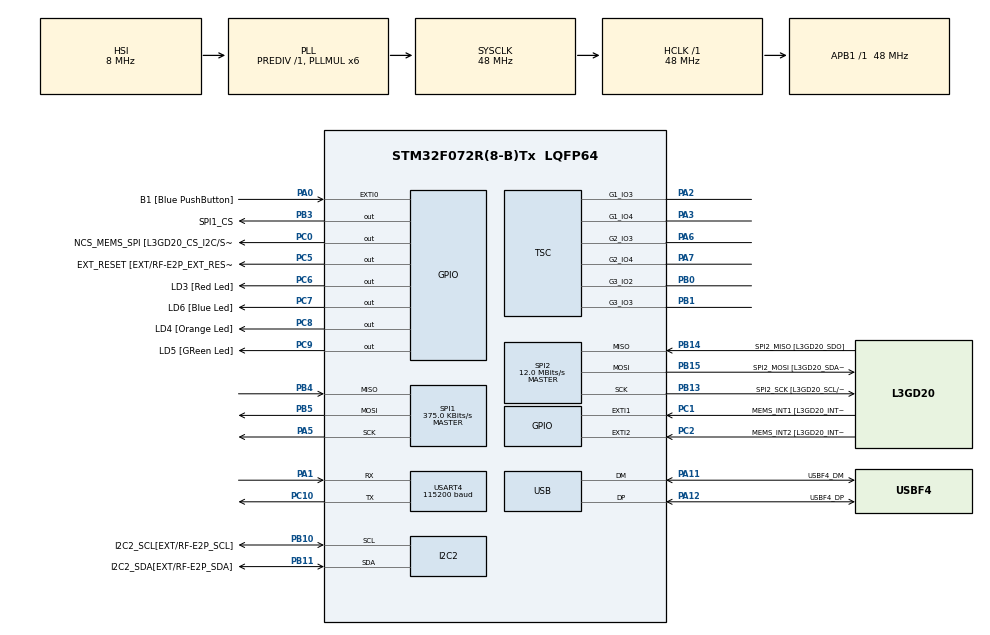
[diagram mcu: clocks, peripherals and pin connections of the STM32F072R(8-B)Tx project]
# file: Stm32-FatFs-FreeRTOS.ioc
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FATFS._USE_FIND=1
FREERTOS.Mutexes01=SDCardMutex,Dynamic,NULL
FREERTOS.Tasks01=BlinkTask,0,128,StartBlinkTask,Default,NULL,Dynamic,NULL,NULL;SDinfo,2,140,StartSDinfo,Default,NULL,Dynamic,NULL,NULL;SDManager,3,300,StartSDManager,Default,NULL,Dynamic,NULL,NULL
FREERTOS.configMINIMAL_STACK_SIZE=128
I2C2.Timing=0x20303E5D
Mcu.Family=STM32F0
Mcu.Name=STM32F072R(8-B)Tx
Mcu.Package=LQFP64
PA0.GPIO_Label=B1 [Blue PushButton]
PA0.GPIO_ModeDefaultEXTI=GPIO_MODE_EVT_RISING
PA0.Signal=GPXTI0
PA1.Mode=Asynchronous
PA1.Signal=USART4_RX
PA11.GPIO_Label=USBF4_DM
PA11.Mode=Device
PA11.Signal=USB_DM
PA12.GPIO_Label=USBF4_DP
PA12.Mode=Device
PA12.Signal=USB_DP
PA13.GPIO_Label=SWDIO
PA13.Mode=Serial_Wire
PA13.Signal=SYS_SWDIO
PA14.GPIO_Label=SWCLK
PA14.Mode=Serial_Wire
PA14.Signal=SYS_SWCLK
PA2.Mode=G1_IO3-Channel
PA2.Signal=TSC_G1_IO3
PA3.Mode=G1_IO4-Sampling
PA3.Signal=TSC_G1_IO4
PA5.Mode=Full_Duplex_Master
PA5.Signal=SPI1_SCK
PA6.Mode=G2_IO3-Channel
PA6.Signal=TSC_G2_IO3
PA7.Mode=G2_IO4-Sampling
PA7.Signal=TSC_G2_IO4
PB0.Mode=G3_IO2-Channel
PB0.Signal=TSC_G3_IO2
PB1.Mode=G3_IO3-Sampling
PB1.Signal=TSC_G3_IO3
PB10.GPIO_Label=I2C2_SCL[EXT/RF-E2P_SCL]
PB10.Mode=I2C
PB10.Signal=I2C2_SCL
PB11.GPIO_Label=I2C2_SDA[EXT/RF-E2P_SDA]
PB11.Mode=I2C
PB11.Signal=I2C2_SDA
PB13.GPIO_Label=SPI2_SCK [L3GD20_SCL/SPC]
PB13.Mode=Full_Duplex_Master
PB13.Signal=SPI2_SCK
PB14.GPIO_Label=SPI2_MISO [L3GD20_SDO]
PB14.Mode=Full_Duplex_Master
PB14.Signal=SPI2_MISO
PB15.GPIO_Label=SPI2_MOSI [L3GD20_SDA/SDI]
PB15.Mode=Full_Duplex_Master
PB15.Signal=SPI2_MOSI
PB3.GPIO_Label=SPI1_CS
PB3.Signal=GPIO_Output
PB4.Mode=Full_Duplex_Master
PB4.Signal=SPI1_MISO
PB5.Mode=Full_Duplex_Master
PB5.Signal=SPI1_MOSI
PC0.GPIO_Label=NCS_MEMS_SPI [L3GD20_CS_I2C/SPI]
PC0.Signal=GPIO_Output
PC1.GPIO_Label=MEMS_INT1 [L3GD20_INT1]
PC1.GPIO_ModeDefaultEXTI=GPIO_MODE_EVT_RISING
PC1.Signal=GPXTI1
PC10.Mode=Asynchronous
PC10.Signal=USART4_TX
PC2.GPIO_Label=MEMS_INT2 [L3GD20_INT2]
PC2.GPIO_ModeDefaultEXTI=GPIO_MODE_EVT_RISING
PC2.Signal=GPXTI2
PC5.GPIO_Label=EXT_RESET [EXT/RF-E2P_EXT_RESET]
PC5.Signal=GPIO_Output
PC6.GPIO_Label=LD3 [Red Led]
PC6.Signal=GPIO_Output
PC7.GPIO_Label=LD6 [Blue Led]
PC7.Signal=GPIO_Output
PC8.GPIO_Label=LD4 [Orange Led]
PC8.Signal=GPIO_Output
PC9.GPIO_Label=LD5 [GReen Led]
PC9.Signal=GPIO_Output
ProjectManager.HeapSize=0x200
ProjectManager.StackSize=0x400
ProjectManager.TargetToolchain=STM32CubeIDE
RCC.AHBFreq_Value=48000000
RCC.APB1Freq_Value=48000000
RCC.APB1TimFreq_Value=48000000
RCC.HCLKFreq_Value=48000000
RCC.PLLMUL=RCC_PLL_MUL6
RCC.SYSCLKFreq_VALUE=48000000
RCC.SYSCLKSource=RCC_SYSCLKSOURCE_PLLCLK
SPI1.BaudRatePrescaler=SPI_BAUDRATEPRESCALER_128
SPI1.CalculateBaudRate=375.0 KBits/s
SPI1.DataSize=SPI_DATASIZE_8BIT
SPI1.Direction=SPI_DIRECTION_2LINES
SPI1.Mode=SPI_MODE_MASTER
SPI1.VirtualType=VM_MASTER
SPI2.BaudRatePrescaler=SPI_BAUDRATEPRESCALER_4
SPI2.CalculateBaudRate=12.0 MBits/s
SPI2.Direction=SPI_DIRECTION_2LINES
SPI2.Mode=SPI_MODE_MASTER
SPI2.VirtualType=VM_MASTER
USART4.BaudRate=115200
USART4.VirtualMode-Asynchronous=VM_ASYNC
USB.phy_itface=PCD_PHY_EMBEDDED
USB.speed=PCD_SPEED_FULL
VP_FATFS_VS_Generic.Mode=User_defined
VP_FREERTOS_VS_CMSIS_V1.Mode=CMSIS_V1
board=STM32F072B-DISCO

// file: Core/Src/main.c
/* USER CODE BEGIN Header */
/**
 ******************************************************************************
 * @file           : main.c
 * @brief          : Main program body
 ******************************************************************************
 * @attention
 *
 * <h2><center>&copy; Copyright (c) 2022 STMicroelectronics.
 * All rights reserved.</center></h2>
 *
 * This software component is licensed by ST under BSD 3-Clause license,
 * the "License"; You may not use this file except in compliance with the
 * License. You may obtain a copy of the License at:
 *                        opensource.org/licenses/BSD-3-Clause
 *
 ******************************************************************************
 */
/* USER CODE END Header */
#include "main.h"
#include "cmsis_os.h"
#include "fatfs.h"

/* USER CODE BEGIN Includes */
#include <stdio.h>
#include <string.h>
#include <stdarg.h> //for va_list var arg functions
/* USER CODE END Includes */

I2C_HandleTypeDef hi2c2;

SPI_HandleTypeDef hspi1;
SPI_HandleTypeDef hspi2;

TSC_HandleTypeDef htsc;

UART_HandleTypeDef huart4;

PCD_HandleTypeDef hpcd_USB_FS;

osThreadId BlinkTaskHandle;
osThreadId SDinfoHandle;
osThreadId SDManagerHandle;
osMutexId SDCardMutexHandle;
/* USER CODE BEGIN PV */
FATFS FatFs;   // FATFS handle
FRESULT fres;  // Common result code
FILINFO fno;	  // Structure holds information
FATFS *getFreeFs; 	  // Read information
FIL fil;
DIR dir;			  // Directory object structure
DWORD free_clusters;  // Free Clusters
DWORD free_sectors;	  // Free Sectors
DWORD total_sectors;  // Total Sectors
/* USER CODE END PV */

void SystemClock_Config(void);
static void MX_GPIO_Init(void);
static void MX_I2C2_Init(void);
static void MX_SPI2_Init(void);
static void MX_TSC_Init(void);
static void MX_USB_PCD_Init(void);
static void MX_SPI1_Init(void);
static void MX_USART4_UART_Init(void);
void StartBlinkTask(void const *argument);
void StartSDinfo(void const *argument);
void StartSDManager(void const *argument);

/* USER CODE BEGIN PFP */
void ls(char*);
void dmesg(FRESULT);
void printk(const char*, ...);
/* USER CODE END PFP */

int main(void) {

	/* MCU Configuration--------------------------------------------------------*/

	/* Reset of all peripherals, Initializes the Flash interface and the Systick. */
	HAL_Init();

	/* Configure the system clock */
	SystemClock_Config();

	/* Initialize all configured peripherals */
	MX_GPIO_Init();
	MX_I2C2_Init();
	MX_SPI2_Init();
	MX_TSC_Init();
	MX_USB_PCD_Init();
	MX_SPI1_Init();
	MX_USART4_UART_Init();
	MX_FATFS_Init();

	/* Create the mutex(es) */
	/* definition and creation of SDCardMutex */
	osMutexDef(SDCardMutex);
	SDCardMutexHandle = osMutexCreate(osMutex(SDCardMutex));

	/* Create the thread(s) */
	/* definition and creation of BlinkTask */
	osThreadDef(BlinkTask, StartBlinkTask, osPriorityNormal, 0, 128);
	BlinkTaskHandle = osThreadCreate(osThread(BlinkTask), NULL);

	/* definition and creation of SDinfo */
	osThreadDef(SDinfo, StartSDinfo, osPriorityHigh, 0, 140);
	SDinfoHandle = osThreadCreate(osThread(SDinfo), NULL);

	/* definition and creation of SDManager */
	osThreadDef(SDManager, StartSDManager, osPriorityRealtime, 0, 300);
	SDManagerHandle = osThreadCreate(osThread(SDManager), NULL);

	/* USER CODE BEGIN RTOS_THREADS */
	/* add threads, ... */

	/* USER CODE BEGIN RTOS_THREADS */
	/* add threads, ... */
	/* USER CODE END RTOS_THREADS */
	/* Start scheduler */
	osKernelStart();

	/* We should never get here as control is now taken by the scheduler */
	/* Infinite loop */
	while (1) {

	}
}

void SystemClock_Config(void) {
	RCC_OscInitTypeDef RCC_OscInitStruct = { 0 };
	RCC_ClkInitTypeDef RCC_ClkInitStruct = { 0 };
	RCC_PeriphCLKInitTypeDef PeriphClkInit = { 0 };

	/** Initializes the RCC Oscillators according to the specified parameters
	 * in the RCC_OscInitTypeDef structure.
	 */
	RCC_OscInitStruct.OscillatorType = RCC_OSCILLATORTYPE_HSI
			| RCC_OSCILLATORTYPE_HSI48;
	RCC_OscInitStruct.HSIState = RCC_HSI_ON;
	RCC_OscInitStruct.HSI48State = RCC_HSI48_ON;
	RCC_OscInitStruct.HSICalibrationValue = RCC_HSICALIBRATION_DEFAULT;
	RCC_OscInitStruct.PLL.PLLState = RCC_PLL_ON;
	RCC_OscInitStruct.PLL.PLLSource = RCC_PLLSOURCE_HSI;
	RCC_OscInitStruct.PLL.PLLMUL = RCC_PLL_MUL6;
	RCC_OscInitStruct.PLL.PREDIV = RCC_PREDIV_DIV1;
	if (HAL_RCC_OscConfig(&RCC_OscInitStruct) != HAL_OK) {
		Error_Handler();
	}
	/** Initializes the CPU, AHB and APB buses clocks
	 */
	RCC_ClkInitStruct.ClockType = RCC_CLOCKTYPE_HCLK | RCC_CLOCKTYPE_SYSCLK
			| RCC_CLOCKTYPE_PCLK1;
	RCC_ClkInitStruct.SYSCLKSource = RCC_SYSCLKSOURCE_PLLCLK;
	RCC_ClkInitStruct.AHBCLKDivider = RCC_SYSCLK_DIV1;
	RCC_ClkInitStruct.APB1CLKDivider = RCC_HCLK_DIV1;

	if (HAL_RCC_ClockConfig(&RCC_ClkInitStruct, FLASH_LATENCY_1) != HAL_OK) {
		Error_Handler();
	}
	PeriphClkInit.PeriphClockSelection = RCC_PERIPHCLK_USB;
	PeriphClkInit.UsbClockSelection = RCC_USBCLKSOURCE_HSI48;

	if (HAL_RCCEx_PeriphCLKConfig(&PeriphClkInit) != HAL_OK) {
		Error_Handler();
	}
}

static void MX_I2C2_Init(void) {

	hi2c2.Instance = I2C2;
	hi2c2.Init.Timing = 0x20303E5D;
	hi2c2.Init.OwnAddress1 = 0;
	hi2c2.Init.AddressingMode = I2C_ADDRESSINGMODE_7BIT;
	hi2c2.Init.DualAddressMode = I2C_DUALADDRESS_DISABLE;
	hi2c2.Init.OwnAddress2 = 0;
	hi2c2.Init.OwnAddress2Masks = I2C_OA2_NOMASK;
	hi2c2.Init.GeneralCallMode = I2C_GENERALCALL_DISABLE;
	hi2c2.Init.NoStretchMode = I2C_NOSTRETCH_DISABLE;
	if (HAL_I2C_Init(&hi2c2) != HAL_OK) {
		Error_Handler();
	}
	/** Configure Analogue filter
	 */
	if (HAL_I2CEx_ConfigAnalogFilter(&hi2c2, I2C_ANALOGFILTER_ENABLE)
			!= HAL_OK) {
		Error_Handler();
	}
	/** Configure Digital filter
	 */
	if (HAL_I2CEx_ConfigDigitalFilter(&hi2c2, 0) != HAL_OK) {
		Error_Handler();
	}

}

static void MX_SPI1_Init(void) {

	/* SPI1 parameter configuration*/
	hspi1.Instance = SPI1;
	hspi1.Init.Mode = SPI_MODE_MASTER;
	hspi1.Init.Direction = SPI_DIRECTION_2LINES;
	hspi1.Init.DataSize = SPI_DATASIZE_8BIT;
	hspi1.Init.CLKPolarity = SPI_POLARITY_LOW;
	hspi1.Init.CLKPhase = SPI_PHASE_1EDGE;
	hspi1.Init.NSS = SPI_NSS_SOFT;
	hspi1.Init.BaudRatePrescaler = SPI_BAUDRATEPRESCALER_128;
	hspi1.Init.FirstBit = SPI_FIRSTBIT_MSB;
	hspi1.Init.TIMode = SPI_TIMODE_DISABLE;
	hspi1.Init.CRCCalculation = SPI_CRCCALCULATION_DISABLE;
	hspi1.Init.CRCPolynomial = 7;
	hspi1.Init.CRCLength = SPI_CRC_LENGTH_DATASIZE;
	hspi1.Init.NSSPMode = SPI_NSS_PULSE_ENABLE;
	if (HAL_SPI_Init(&hspi1) != HAL_OK) {
		Error_Handler();
	}

}

static void MX_SPI2_Init(void) {

	/* SPI2 parameter configuration*/
	hspi2.Instance = SPI2;
	hspi2.Init.Mode = SPI_MODE_MASTER;
	hspi2.Init.Direction = SPI_DIRECTION_2LINES;
	hspi2.Init.DataSize = SPI_DATASIZE_4BIT;
	hspi2.Init.CLKPolarity = SPI_POLARITY_LOW;
	hspi2.Init.CLKPhase = SPI_PHASE_1EDGE;
	hspi2.Init.NSS = SPI_NSS_SOFT;
	hspi2.Init.BaudRatePrescaler = SPI_BAUDRATEPRESCALER_4;
	hspi2.Init.FirstBit = SPI_FIRSTBIT_MSB;
	hspi2.Init.TIMode = SPI_TIMODE_DISABLE;
	hspi2.Init.CRCCalculation = SPI_CRCCALCULATION_DISABLE;
	hspi2.Init.CRCPolynomial = 7;
	hspi2.Init.CRCLength = SPI_CRC_LENGTH_DATASIZE;
	hspi2.Init.NSSPMode = SPI_NSS_PULSE_ENABLE;
	if (HAL_SPI_Init(&hspi2) != HAL_OK) {
		Error_Handler();
	}

}

static void MX_TSC_Init(void) {

	/** Configure the TSC peripheral
	 */
	htsc.Instance = TSC;
	htsc.Init.CTPulseHighLength = TSC_CTPH_2CYCLES;
	htsc.Init.CTPulseLowLength = TSC_CTPL_2CYCLES;
	htsc.Init.SpreadSpectrum = DISABLE;
	htsc.Init.SpreadSpectrumDeviation = 1;
	htsc.Init.SpreadSpectrumPrescaler = TSC_SS_PRESC_DIV1;
	htsc.Init.PulseGeneratorPrescaler = TSC_PG_PRESC_DIV4;
	htsc.Init.MaxCountValue = TSC_MCV_8191;
	htsc.Init.IODefaultMode = TSC_IODEF_OUT_PP_LOW;
	htsc.Init.SynchroPinPolarity = TSC_SYNC_POLARITY_FALLING;
	htsc.Init.AcquisitionMode = TSC_ACQ_MODE_NORMAL;
	htsc.Init.MaxCountInterrupt = DISABLE;
	htsc.Init.ChannelIOs = TSC_GROUP1_IO3 | TSC_GROUP2_IO3 | TSC_GROUP3_IO2;
	htsc.Init.ShieldIOs = 0;
	htsc.Init.SamplingIOs = TSC_GROUP1_IO4 | TSC_GROUP2_IO4 | TSC_GROUP3_IO3;
	if (HAL_TSC_Init(&htsc) != HAL_OK) {
		Error_Handler();
	}

}

static void MX_USART4_UART_Init(void) {

	huart4.Instance = USART4;
	huart4.Init.BaudRate = 115200;
	huart4.Init.WordLength = UART_WORDLENGTH_8B;
	huart4.Init.StopBits = UART_STOPBITS_1;
	huart4.Init.Parity = UART_PARITY_NONE;
	huart4.Init.Mode = UART_MODE_TX_RX;
	huart4.Init.HwFlowCtl = UART_HWCONTROL_NONE;
	huart4.Init.OverSampling = UART_OVERSAMPLING_16;
	huart4.Init.OneBitSampling = UART_ONE_BIT_SAMPLE_DISABLE;
	huart4.AdvancedInit.AdvFeatureInit = UART_ADVFEATURE_NO_INIT;
	if (HAL_UART_Init(&huart4) != HAL_OK) {
		Error_Handler();
	}

}

static void MX_USB_PCD_Init(void) {

	hpcd_USB_FS.Instance = USB;
	hpcd_USB_FS.Init.dev_endpoints = 8;
	hpcd_USB_FS.Init.speed = PCD_SPEED_FULL;
	hpcd_USB_FS.Init.phy_itface = PCD_PHY_EMBEDDED;
	hpcd_USB_FS.Init.low_power_enable = DISABLE;
	hpcd_USB_FS.Init.lpm_enable = DISABLE;
	hpcd_USB_FS.Init.battery_charging_enable = DISABLE;
	if (HAL_PCD_Init(&hpcd_USB_FS) != HAL_OK) {
		Error_Handler();
	}

}

static void MX_GPIO_Init(void) {
	GPIO_InitTypeDef GPIO_InitStruct = { 0 };

	/* GPIO Ports Clock Enable */
	__HAL_RCC_GPIOC_CLK_ENABLE();
	__HAL_RCC_GPIOA_CLK_ENABLE();
	__HAL_RCC_GPIOB_CLK_ENABLE();

	/*Configure GPIO pin Output Level */
	HAL_GPIO_WritePin(GPIOC,
	NCS_MEMS_SPI_Pin | EXT_RESET_Pin | LD3_Pin | LD6_Pin | LD4_Pin | LD5_Pin,
			GPIO_PIN_RESET);

	/*Configure GPIO pin Output Level */
	HAL_GPIO_WritePin(SPI1_CS_GPIO_Port, SPI1_CS_Pin, GPIO_PIN_RESET);

	/*Configure GPIO pins : NCS_MEMS_SPI_Pin EXT_RESET_Pin LD3_Pin LD6_Pin
	 LD4_Pin LD5_Pin */
	GPIO_InitStruct.Pin = NCS_MEMS_SPI_Pin | EXT_RESET_Pin | LD3_Pin | LD6_Pin
			| LD4_Pin | LD5_Pin;
	GPIO_InitStruct.Mode = GPIO_MODE_OUTPUT_PP;
	GPIO_InitStruct.Pull = GPIO_NOPULL;
	GPIO_InitStruct.Speed = GPIO_SPEED_FREQ_LOW;
	HAL_GPIO_Init(GPIOC, &GPIO_InitStruct);

	/*Configure GPIO pins : MEMS_INT1_Pin MEMS_INT2_Pin */
	GPIO_InitStruct.Pin = MEMS_INT1_Pin | MEMS_INT2_Pin;
	GPIO_InitStruct.Mode = GPIO_MODE_EVT_RISING;
	GPIO_InitStruct.Pull = GPIO_NOPULL;
	HAL_GPIO_Init(GPIOC, &GPIO_InitStruct);

	/*Configure GPIO pin : B1_Pin */
	GPIO_InitStruct.Pin = B1_Pin;
	GPIO_InitStruct.Mode = GPIO_MODE_EVT_RISING;
	GPIO_InitStruct.Pull = GPIO_NOPULL;
	HAL_GPIO_Init(B1_GPIO_Port, &GPIO_InitStruct);

	/*Configure GPIO pin : SPI1_CS_Pin */
	GPIO_InitStruct.Pin = SPI1_CS_Pin;
	GPIO_InitStruct.Mode = GPIO_MODE_OUTPUT_PP;
	GPIO_InitStruct.Pull = GPIO_NOPULL;
	GPIO_InitStruct.Speed = GPIO_SPEED_FREQ_LOW;
	HAL_GPIO_Init(SPI1_CS_GPIO_Port, &GPIO_InitStruct);

}

/* USER CODE BEGIN 4 */

void printk(const char *fmt, ...) {
	static char buffer[256];
	va_list args;
	va_start(args, fmt);
	vsnprintf(buffer, sizeof(buffer), fmt, args);
	va_end(args);

	int len = strlen(buffer);
	HAL_UART_Transmit(&huart4, (uint8_t*) buffer, len, -1);

}

void ls(char *path) {

	printk("Files/Folder List:\n");
	fres = f_opendir(&dir, path);

	if (fres == FR_OK) {
		while (1) {

			fres = f_readdir(&dir, &fno);

			if ((fres != FR_OK) || (fno.fname[0] == 0)) {
				break;
			}
			printk("\n %c%c%c%c%c %u-%02u-%02u, %02u:%02u %10d %s/%s",
					((fno.fattrib & AM_DIR) ? 'D' : '-'),
					((fno.fattrib & AM_RDO) ? 'R' : '-'),
					((fno.fattrib & AM_SYS) ? 'S' : '-'),
					((fno.fattrib & AM_HID) ? 'H' : '-'),
					((fno.fattrib & AM_ARC) ? 'A' : '-'),
					((fno.fdate >> 9) + 1980), (fno.fdate >> 5 & 15),
					(fno.fdate & 31), (fno.ftime >> 11), (fno.ftime >> 5 & 63),
					(int) fno.fsize, path, fno.fname);
		}
	}

}

void dmesg(FRESULT fres) {

	switch (fres) {
	case FR_OK:
		printk("Succeeded \n");
		break;
	case FR_DISK_ERR:
		printk("A hard error occurred in the low level disk I/O layer \n");
		break;
	case FR_INT_ERR:
		printk("Assertion failed \n");
		break;
	case FR_NOT_READY:
		printk("The physical drive cannot work");
		break;
	case FR_NO_FILE:
		printk("Could not find the file \n");
		break;
	case FR_NO_PATH:
		printk("Could not find the path \n");
		break;
	case FR_INVALID_NAME:
		printk("The path name format is invalid \n");
		break;
	case FR_DENIED:
		printk("Access denied due to prohibited access or directory full \n");
		break;
	case FR_EXIST:
		printk("Exist or access denied due to prohibited access \n");
		break;
	case FR_INVALID_OBJECT:
		printk("The file/directory object is invalid \n");
		break;
	case FR_WRITE_PROTECTED:
		printk("The physical drive is write protected \n");
		break;
	case FR_INVALID_DRIVE:
		printk("The logical drive number is invalid \n");
		break;
	case FR_NOT_ENABLED:
		printk("The volume has no work area");
		break;
	case FR_NO_FILESYSTEM:
		printk("There is no valid FAT volume");
		break;
	case FR_MKFS_ABORTED:
		printk("The f_mkfs() aborted due to any parameter error \n");
		break;
	case FR_TIMEOUT:
		printk(
				"Could not get a grant to access the volume within defined period \n");
		break;
	case FR_LOCKED:
		printk(
				"The operation is rejected according to the file sharing policy \n");
		break;
	case FR_NOT_ENOUGH_CORE:
		printk("LFN working buffer could not be allocated \n");
		break;
	case FR_TOO_MANY_OPEN_FILES:
		printk("Number of open files > _FS_SHARE \n");
		break;
	case FR_INVALID_PARAMETER:
		printk("Given parameter is invalid \n");
		break;
	default:
		printk("An error occured. (%d)\n", fres);
	}

}
/* USER CODE END 4 */

void StartBlinkTask(void const *argument) {
	/* USER CODE BEGIN 5 */
	/* Infinite loop */
	for (;;) {
		printk("\nStartBlinkTask!\n");
		HAL_GPIO_TogglePin(LD6_GPIO_Port, LD6_Pin);
		printk("\n\[Blink]: LED Blink\n");
		osDelay(1000);
	}
	/* USER CODE END 5 */
}

/* USER CODE BEGIN Header_StartSDinfo */
/**
 * @brief Provides the general state of the volume with the files in the root
 * @param argument: Not used
 * @retval None
 */
/* USER CODE END Header_StartSDinfo */
void StartSDinfo(void const *argument) {
	/* USER CODE BEGIN StartSDinfo */
	/* Infinite loop */
	for (;;) {
		printk("\nStartSDinfoTask!\n");
		osMutexWait(SDCardMutexHandle, portMAX_DELAY);
		printk("\n[SDinfo]: Mount SDCard");
		fres = f_mount(&FatFs, "", 1); // 1 -> Mount now
		if (fres == FR_OK) {
			// Get some statistics from the SD card
			fres = f_getfree("", &free_clusters, &getFreeFs);
			// Formula comes from ChaN's documentation
			total_sectors = (getFreeFs->n_fatent - 2) * getFreeFs->csize;
			free_sectors = free_clusters * getFreeFs->csize;
			printk(
					"\n[SDinfo]: SD Card Status:\r\n\n%10lu KiB total drive space.\r\n%10lu KiB available.\r\n",
					total_sectors / 2, free_sectors / 2);
			osDelay(100);
			// List files and folder in root
			printk("\n[SDinfo]: ");
			ls("");
		} else {
			printk("\n[SDinfo]: ");
			dmesg(fres);
		}
		f_mount(NULL, "", 0);
		printk("\n[SDinfo]: Unmount SDCard");
		osMutexRelease(SDCardMutexHandle);
		osDelay(1200);
	}
	/* USER CODE END StartSDinfo */
}

/* USER CODE BEGIN Header_StartSDManager */
/**
 * @brief Doing some operations at SD card (read, write, rename...)
 * @param argument: Not used
 * @retval None
 */
/* USER CODE END Header_StartSDManager */
void StartSDManager(void const *argument) {
	/* USER CODE BEGIN StartSDManager */
	/* Infinite loop */
	for (;;) {
		printk("\nStartSDManagerTask!\n");
		osMutexWait(SDCardMutexHandle, portMAX_DELAY);
		printk("\n[SDManager]: Mount SDCard");
		fres = f_mount(&FatFs, "", 1); // 1 -> Mount now
		if (fres == FR_OK) {

			// Create Folder
			fres = f_mkdir("DEMO");
			if (fres == FR_OK) {
				printk("\n[SDManager]: Create Folder");
			} else {
				printk("\n[SDManager][Create_Folder]: ");
				dmesg(fres);
			}

			BYTE readBuf[30];

			// Read File
			fres = f_open(&fil, "test.txt", FA_OPEN_ALWAYS);
			if (fres == FR_OK) {

				TCHAR *rres = f_gets((TCHAR*) readBuf, 30, &fil);
				if (rres != 0) {
					printk("\n[SDManager]: Read File");
					printk("\n[SDManager]: 'test.txt' contents: %s\r\n",
							readBuf);

				}

			} else {

				printk("\n[SDManager][Read_File]: ");
				dmesg(fres);

			}
			f_close(&fil);

			osDelay(100);

			// Write File
			fres = f_open(&fil, "/DEMO/write.txt",
			FA_WRITE | FA_OPEN_ALWAYS | FA_CREATE_ALWAYS);
			if (fres == FR_OK) {
				//Copy in a string
				strncpy((char*) readBuf, "I hate Java!", 12);
				UINT bytesWrote;
				fres = f_write(&fil, readBuf, 12, &bytesWrote);
				if (fres == FR_OK) {
					printk("\n[SDManager]: Write File");
					printk("\n[SDManager]: Wrote %i bytes to 'write.txt'!\r\n",
							bytesWrote);
				} else {
					printk("\n[SDManager][Write_File]: ");
					dmesg(fres);
				}
			} else {
				printk("\n[SDManager][Create_File]: ");
				dmesg(fres);
			}
			f_close(&fil);

		} else {
			printk("\n[SDManager]: ");
			dmesg(fres);
		}

		f_mount(NULL, "", 0);
		printk("\n[SDManager]: Unmount SDCard");
		osMutexRelease(SDCardMutexHandle);
		osDelay(1000);
	}

	/* USER CODE END StartSDManager */
}

void Error_Handler(void) {
	__disable_irq();
	while (1) {
	}
}

/************************ (C) COPYRIGHT STMicroelectronics *****END OF FILE****/
